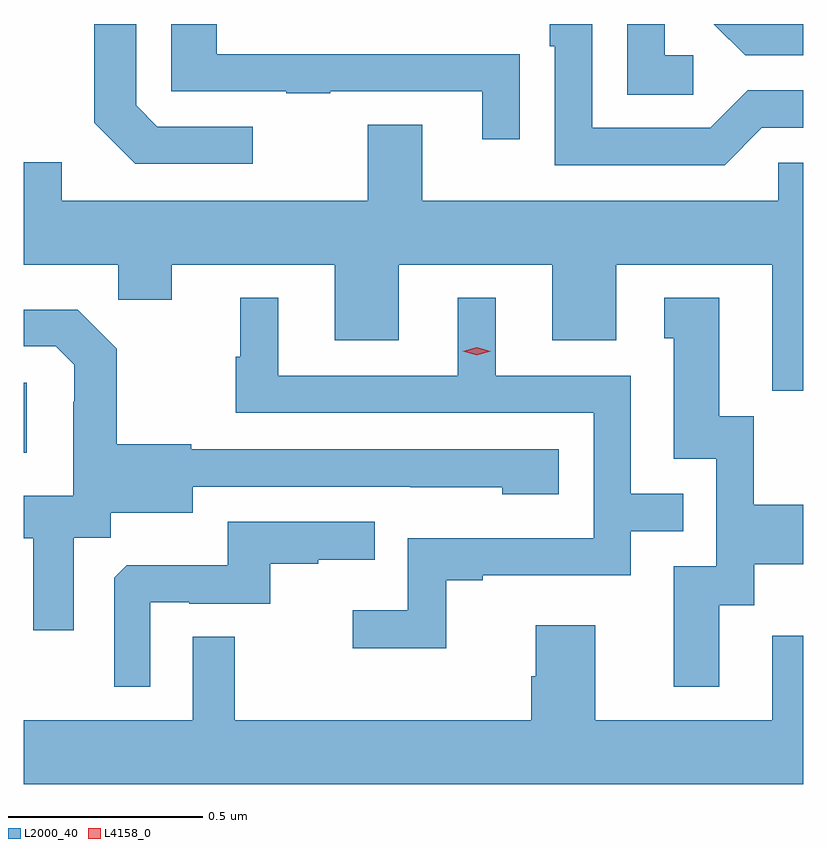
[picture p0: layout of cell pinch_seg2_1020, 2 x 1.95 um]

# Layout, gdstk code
import gdstk
lib = gdstk.Library(unit=1e-6, precision=1e-09)
def R(c, l, rs):  # rectangles x0, y0, x1, y1
    for r in rs: c.add(gdstk.rectangle(r[:2], r[2:], *l))
def P(c, l, *ps):  # polygons
    for p in ps: c.add(gdstk.Polygon(p, *l))
L2000_40 = (2000, 40)
L4158_0 = (4158, 0)

pinch_seg2_1020 = lib.new_cell('pinch_seg2_1020')
R(pinch_seg2_1020, L2000_40, [(145.097,652.482,145.105,652.662)])
P(pinch_seg2_1020, L2000_40, [(146.991,653.316),(147.097,653.316),(147.097,653.412),(146.955,653.412),(146.859,653.316),(146.556,653.316),(146.556,653.582),(146.447,653.582),(146.447,653.525),(146.46,653.525),(146.46,653.22),(146.895,653.22)],
  [(147.097,653.582),(146.868,653.582),(146.948,653.502),(147.097,653.502)],
  [(145.684,653.319),(145.44,653.319),(145.386,653.373),(145.386,653.582),(145.278,653.582),(145.278,653.329),(145.383,653.223),(145.684,653.223)],
  [(146.815,653.502),(146.742,653.502),(146.742,653.582),(146.646,653.582),(146.646,653.401),(146.815,653.401)],
  [(146.369,653.504),(146.267,653.504),(146.267,653.505),(145.592,653.505),(145.592,653.582),(145.476,653.582),(145.476,653.409),(145.771,653.409),(145.771,653.404),(145.883,653.404),(145.883,653.409),(146.273,653.409),(146.273,653.286),(146.369,653.286)],
  [(146.119,653.323),(145.979,653.323),(145.979,653.128),(145.195,653.128),(145.195,653.227),(145.097,653.227),(145.097,652.964),(145.339,652.964),(145.339,652.874),(145.477,652.874),(145.477,652.964),(145.895,652.964),(145.895,652.77),(146.059,652.77),(146.059,652.964),(146.453,652.964),(146.453,652.77),(146.617,652.77),(146.617,652.964),(147.017,652.964),(147.017,652.753),(147.018,652.753),(147.018,652.641),(147.097,652.641),(147.097,653.226),(147.033,653.226),(147.033,653.128),(146.119,653.128)],
  [(146.181,652.155),(146.275,652.155),(146.275,652.167),(146.655,652.167),(146.655,652.281),(146.789,652.281),(146.789,652.377),(146.655,652.377),(146.655,652.68),(146.308,652.68),(146.308,652.879),(146.21,652.879),(146.21,652.68),(145.75,652.68),(145.75,652.879),(145.652,652.879),(145.652,652.728),(145.641,652.728),(145.641,652.584),(146.559,652.584),(146.559,652.263),(146.082,652.263),(146.082,652.078),(145.941,652.078),(145.941,651.98),(146.181,651.98)],
  [(146.881,652.09),(146.971,652.09),(146.971,652.196),(147.097,652.196),(147.097,652.348),(146.97,652.348),(146.97,652.575),(146.881,652.575),(146.881,652.879),(146.741,652.879),(146.741,652.776),(146.765,652.776),(146.765,652.467),(146.874,652.467),(146.874,652.191),(146.765,652.191),(146.765,651.882),(146.881,651.882)],
  [(145.225,652.264),(145.32,652.264),(145.32,652.328),(145.531,652.328),(145.531,652.395),(146.089,652.395),(146.089,652.394),(146.325,652.394),(146.325,652.376),(146.47,652.376),(146.47,652.491),(145.527,652.491),(145.527,652.504),(145.335,652.504),(145.335,652.749),(145.235,652.849),(145.097,652.849),(145.097,652.755),(145.179,652.755),(145.226,652.708),(145.226,652.613),(145.224,652.613),(145.224,652.372),(145.097,652.372),(145.097,652.262),(145.121,652.262),(145.121,652.026),(145.225,652.026)],
  [(145.422,652.098),(145.522,652.098),(145.522,652.095),(145.73,652.095),(145.73,652.197),(145.853,652.197),(145.853,652.208),(145.997,652.208),(145.997,652.305),(145.62,652.305),(145.62,652.193),(145.361,652.193),(145.329,652.161),(145.329,651.881),(145.422,651.881)],
  [(147.097,652.012),(147.017,652.012),(147.017,651.796),(146.563,651.796),(146.563,652.039),(146.411,652.039),(146.411,651.909),(146.399,651.909),(146.399,651.796),(145.639,651.796),(145.639,652.01),(145.53,652.01),(145.53,651.796),(145.097,651.796),(145.097,651.632),(147.097,651.632)])
P(pinch_seg2_1020, L4158_0, [(146.259,652.732),(146.223,652.742),(146.223,652.742),(146.223,652.742),(146.259,652.752),(146.295,652.742),(146.295,652.742),(146.295,652.742)])

lib.write_gds('pinch_seg2_1020.gds')
